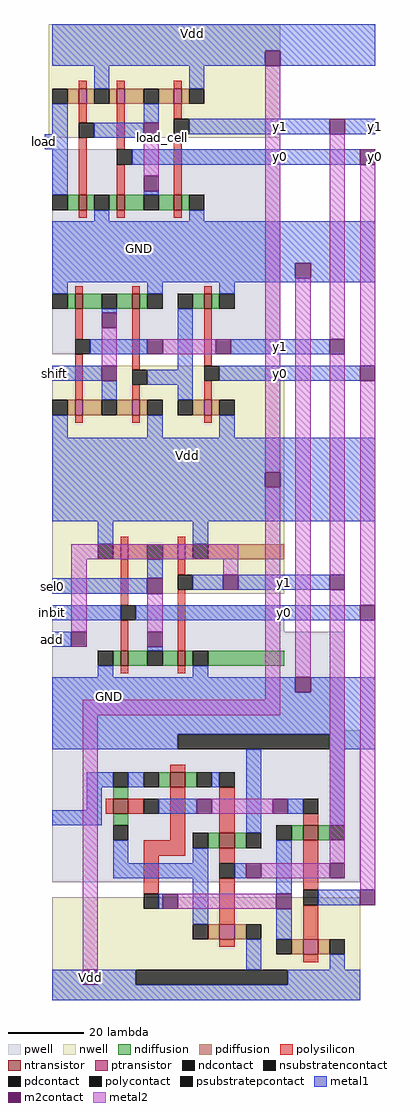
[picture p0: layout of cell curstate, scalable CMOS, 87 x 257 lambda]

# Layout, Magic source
magic
tech scmos
<< pwell >>
rect 5 -18 65 36
rect 5 -91 66 -84
rect 5 -118 82 -91
rect 5 -119 50 -118
<< nwell >>
rect 4 39 65 69
rect 5 -81 66 -21
<< polysilicon >>
rect 12 52 14 54
rect 22 52 24 54
rect 37 52 39 54
rect 12 43 14 48
rect 12 24 14 39
rect 22 36 24 48
rect 37 44 39 48
rect 22 24 24 32
rect 37 24 39 40
rect 12 18 14 20
rect 22 18 24 20
rect 37 18 39 20
rect 11 -2 13 0
rect 26 -2 28 0
rect 45 -2 47 0
rect 11 -14 13 -6
rect 11 -30 13 -18
rect 26 -22 28 -6
rect 45 -21 47 -6
rect 26 -30 28 -26
rect 45 -30 47 -25
rect 11 -36 13 -34
rect 26 -36 28 -34
rect 45 -36 47 -34
rect 23 -68 25 -66
rect 38 -68 40 -66
rect 23 -84 25 -72
rect 38 -76 40 -72
rect 23 -96 25 -88
rect 38 -96 40 -80
rect 23 -102 25 -100
rect 38 -102 40 -100
<< ndiffusion >>
rect 9 20 12 24
rect 14 20 16 24
rect 20 20 22 24
rect 24 20 29 24
rect 33 20 37 24
rect 39 20 41 24
rect 9 -6 11 -2
rect 13 -6 18 -2
rect 22 -6 26 -2
rect 28 -6 30 -2
rect 42 -6 45 -2
rect 47 -6 49 -2
rect 21 -100 23 -96
rect 25 -100 30 -96
rect 34 -100 38 -96
rect 40 -100 42 -96
rect 46 -100 66 -96
<< pdiffusion >>
rect 9 48 12 52
rect 14 48 16 52
rect 20 48 22 52
rect 24 48 29 52
rect 33 48 37 52
rect 39 48 41 52
rect 9 -34 11 -30
rect 13 -34 18 -30
rect 22 -34 26 -30
rect 28 -34 30 -30
rect 42 -34 45 -30
rect 47 -34 49 -30
rect 21 -72 23 -68
rect 25 -72 30 -68
rect 34 -72 38 -68
rect 40 -72 42 -68
rect 46 -72 66 -68
<< metal1 >>
rect 5 62 90 69
rect 5 58 61 62
rect 65 58 90 62
rect 16 52 20 58
rect 41 52 45 58
rect 5 40 9 48
rect 29 43 33 48
rect 3 36 9 40
rect 16 39 29 43
rect 41 40 78 44
rect 82 40 90 44
rect 5 24 9 36
rect 26 32 86 36
rect 29 24 33 25
rect 16 17 20 20
rect 41 17 45 20
rect 5 6 90 17
rect 5 2 69 6
rect 73 2 90 6
rect 5 1 90 2
rect 5 -2 9 1
rect 30 -2 34 1
rect 49 -2 53 1
rect 18 -7 22 -6
rect 15 -18 30 -14
rect 5 -25 18 -21
rect 38 -22 42 -6
rect 52 -18 78 -14
rect 18 -30 22 -25
rect 30 -26 42 -22
rect 49 -25 86 -21
rect 38 -30 42 -26
rect 5 -40 9 -34
rect 30 -40 34 -34
rect 49 -40 53 -34
rect 5 -49 90 -40
rect 5 -53 61 -49
rect 65 -53 90 -49
rect 5 -62 90 -53
rect 17 -68 21 -62
rect 42 -68 46 -62
rect 30 -77 34 -72
rect 5 -81 30 -77
rect 42 -80 50 -76
rect 54 -80 78 -76
rect 5 -88 23 -84
rect 27 -88 86 -84
rect 5 -95 10 -91
rect 30 -96 34 -95
rect 17 -103 21 -100
rect 42 -103 46 -100
rect 5 -107 69 -103
rect 73 -107 90 -103
rect 5 -117 90 -107
rect 5 -120 15 -117
rect 82 -122 90 -117
<< metal2 >>
rect 29 29 33 39
rect 18 -21 22 -11
rect 34 -18 48 -14
rect 61 -49 65 58
rect 10 -72 54 -68
rect 10 -91 14 -72
rect 50 -76 54 -72
rect 30 -91 34 -81
rect 61 -109 65 -53
rect 69 -103 73 2
rect 78 -14 82 40
rect 78 -76 82 -18
rect 13 -113 65 -109
rect 13 -180 17 -113
rect 78 -120 82 -80
rect 86 -21 90 32
rect 86 -84 90 -25
rect 86 -121 90 -88
<< ntransistor >>
rect 12 20 14 24
rect 22 20 24 24
rect 37 20 39 24
rect 11 -6 13 -2
rect 26 -6 28 -2
rect 45 -6 47 -2
rect 23 -100 25 -96
rect 38 -100 40 -96
<< ptransistor >>
rect 12 48 14 52
rect 22 48 24 52
rect 37 48 39 52
rect 11 -34 13 -30
rect 26 -34 28 -30
rect 45 -34 47 -30
rect 23 -72 25 -68
rect 38 -72 40 -68
<< polycontact >>
rect 12 39 16 43
rect 37 40 41 44
rect 22 32 26 36
rect 11 -18 15 -14
rect 26 -26 30 -22
rect 45 -25 49 -21
rect 38 -80 42 -76
rect 23 -88 27 -84
<< ndcontact >>
rect 5 20 9 24
rect 16 20 20 24
rect 29 20 33 24
rect 41 20 45 24
rect 5 -6 9 -2
rect 18 -6 22 -2
rect 30 -6 34 -2
rect 38 -6 42 -2
rect 49 -6 53 -2
rect 17 -100 21 -96
rect 30 -100 34 -96
rect 42 -100 46 -96
<< pdcontact >>
rect 5 48 9 52
rect 16 48 20 52
rect 29 48 33 52
rect 41 48 45 52
rect 5 -34 9 -30
rect 18 -34 22 -30
rect 30 -34 34 -30
rect 38 -34 42 -30
rect 49 -34 53 -30
rect 17 -72 21 -68
rect 30 -72 34 -68
rect 42 -72 46 -68
<< m2contact >>
rect 61 58 65 62
rect 29 39 33 43
rect 78 40 82 44
rect 86 32 90 36
rect 29 25 33 29
rect 69 2 73 6
rect 18 -11 22 -7
rect 30 -18 34 -14
rect 18 -25 22 -21
rect 48 -18 52 -14
rect 78 -18 82 -14
rect 86 -25 90 -21
rect 61 -53 65 -49
rect 30 -81 34 -77
rect 50 -80 54 -76
rect 78 -80 82 -76
rect 86 -88 90 -84
rect 10 -95 14 -91
rect 30 -95 34 -91
rect 69 -107 73 -103
rect 13 -184 17 -180
use XOR_sm  XOR_sm_0
transform 1 0 25 0 1 -141
box -20 -47 65 24
<< labels >>
rlabel metal1 3 36 3 40 7 load
rlabel space 3 9 65 69 1 load_cell
rlabel metal1 32 65 52 68 5 Vdd
rlabel metal1 28 10 28 10 1 GND
rlabel metal1 20 -108 20 -108 1 GND
rlabel metal1 5 -95 5 -91 7 add
rlabel metal1 5 -88 5 -84 7 inbit
rlabel metal1 5 -81 5 -77 7 sel0
rlabel metal1 66 -88 66 -84 3 y0
rlabel metal1 66 -80 66 -76 3 y1
rlabel metal1 65 40 65 44 3 y1
rlabel metal1 65 32 65 36 3 y0
rlabel metal1 5 -25 6 -21 7 shift
rlabel metal1 31 -46 50 -43 1 Vdd
rlabel metal1 65 -18 65 -14 3 y1
rlabel metal1 65 -25 65 -21 3 y0
rlabel metal1 90 40 90 44 3 y1
rlabel m2contact 90 32 90 36 3 y0
rlabel m2contact 13 -184 17 -180 1 Vdd
<< end >>

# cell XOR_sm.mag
magic
tech scmos
<< pwell >>
rect -20 -16 61 24
<< nwell >>
rect -20 -47 61 -20
<< polysilicon >>
rect 11 13 15 15
rect -6 2 -4 6
rect 0 2 4 6
rect 11 -5 15 9
rect 24 -3 28 9
rect 46 -1 50 2
rect 4 -9 15 -5
rect 4 -19 8 -9
rect 24 -11 28 -7
rect 24 -27 28 -15
rect 46 -18 50 -5
rect 46 -31 50 -22
rect 24 -33 28 -31
rect 46 -37 50 -35
<< ndiffusion >>
rect 8 9 11 13
rect 15 9 18 13
rect -4 6 0 9
rect -4 -1 0 2
rect 21 -7 24 -3
rect 28 -7 31 -3
rect 43 -5 46 -1
rect 50 -5 53 -1
<< pdiffusion >>
rect 21 -31 24 -27
rect 28 -31 31 -27
rect 43 -35 46 -31
rect 50 -35 53 -31
<< metal1 >>
rect -20 23 57 24
rect -20 19 13 23
rect -11 9 -4 13
rect 0 9 4 13
rect 22 9 24 13
rect -11 3 -7 9
rect -20 -1 -7 3
rect 8 2 18 6
rect 31 -3 35 19
rect 42 2 46 6
rect 53 -1 57 23
rect -4 -11 0 -5
rect 17 -11 21 -7
rect -4 -15 21 -11
rect 28 -15 31 -11
rect 8 -23 9 -19
rect 17 -27 21 -15
rect 39 -19 43 -5
rect 50 -22 61 -18
rect 31 -39 35 -31
rect 39 -31 43 -23
rect 53 -39 57 -35
rect -20 -43 2 -39
rect 42 -43 61 -39
rect -20 -47 61 -43
<< metal2 >>
rect 22 2 38 6
rect 53 -11 57 24
rect 35 -15 53 -11
rect 61 -18 65 24
rect 13 -23 39 -19
<< ntransistor >>
rect 11 9 15 13
rect -4 2 0 6
rect 24 -7 28 -3
rect 46 -5 50 -1
<< ptransistor >>
rect 24 -31 28 -27
rect 46 -35 50 -31
<< polycontact >>
rect 24 9 28 13
rect 4 2 8 6
rect 46 2 50 6
rect 4 -23 8 -19
rect 24 -15 28 -11
rect 46 -22 50 -18
<< ndcontact >>
rect -4 9 0 13
rect 4 9 8 13
rect 18 9 22 13
rect -4 -5 0 -1
rect 17 -7 21 -3
rect 31 -7 35 -3
rect 39 -5 43 -1
rect 53 -5 57 -1
<< pdcontact >>
rect 17 -31 21 -27
rect 31 -31 35 -27
rect 39 -35 43 -31
rect 53 -35 57 -31
<< m2contact >>
rect 18 2 22 6
rect 38 2 42 6
rect 31 -15 35 -11
rect 9 -23 13 -19
rect 53 -15 57 -11
rect 39 -23 43 -19
rect 61 -22 65 -18
<< psubstratepcontact >>
rect 13 19 53 23
<< nsubstratencontact >>
rect 2 -43 42 -39
<< labels >>
rlabel metal1 48 -44 48 -44 1 Vdd
rlabel metal1 -20 -1 -20 3 7 sel1
rlabel m2contact 53 -15 57 -11 1 y1
rlabel m2contact 61 -22 65 -18 7 y0
rlabel metal2 61 24 65 24 1 y0
rlabel metal2 53 24 57 24 1 y1
rlabel metal1 3 21 3 21 5 GND
<< end >>
